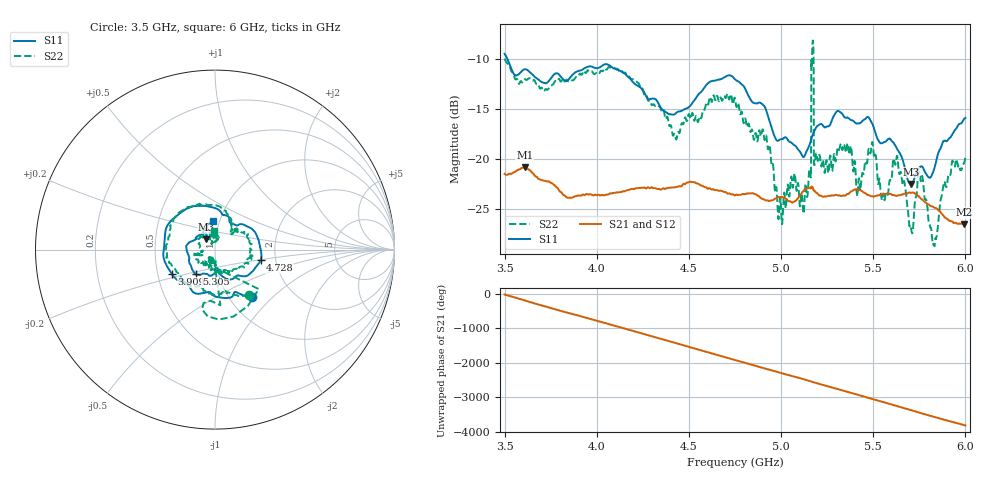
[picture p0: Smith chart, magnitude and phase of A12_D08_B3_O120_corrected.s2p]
! Created with skrf 1.9.0 (http://scikit-rf.org).
# Hz S RI R 50.0
!freq ReS11 ImS11 ReS21 ImS21 ReS12 ImS12 ReS22 ImS22
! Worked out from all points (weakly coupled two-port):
!   1601 points, 3.5 GHz to 6 GHz, reference 50 ohm
!   highest |S21| = -20.86 dB at 3.609 GHz (marker M1); lowest = -26.5 dB at 5.994 GHz (marker M2)
!   lowest |S11| = -22.5 dB at 5.705 GHz (marker M3), VSWR 1.16, Z = 45 + j5.11 ohm
!   |S11| at or under -10 dB: 3.515 GHz to end of sweep
!   |S22| runs from -28.7 to -8.2 dB; largest |S21 - S12| = 0.0011
!   S11 on the Smith chart (normalised r, x): 3.5 GHz: 1.27, -0.76; 3.909 GHz: 0.59, -0.17; 4.728 GHz: 1.66, -0.21; 5.305 GHz: 0.78, -0.22; 6 GHz: 0.93, +0.31
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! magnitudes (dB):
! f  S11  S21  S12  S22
! 3.5 GHz  -9.5  -21.5  -21.5  -10.0
! 3.609 GHz  -11.0  -20.9  -20.9  -12.0
! 3.909 GHz  -11.2  -23.7  -23.7  -11.5
! 3.917 GHz  -11.1  -23.7  -23.7  -11.6
! 4.334 GHz  -14.5  -23.0  -23.0  -14.7
! 4.425 GHz  -15.5  -22.8  -22.8  -17.7
! 4.728 GHz  -11.7  -23.6  -23.5  -13.6
! 4.75 GHz  -12.0  -23.7  -23.6  -14.0
! 4.911 GHz  -14.8  -24.1  -24.1  -18.1
! 4.995 GHz  -18.1  -23.8  -23.8  -23.9
! 5.131 GHz  -19.6  -23.0  -23.0  -22.7
! 5.15 GHz  -18.8  -22.9  -22.9  -21.7
! 5.167 GHz  -17.8  -22.8  -22.8  -10.3
! 5.191 GHz  -16.9  -23.4  -23.4  -19.5
! 5.305 GHz  -15.2  -23.6  -23.6  -19.1
! 5.584 GHz  -18.0  -23.5  -23.5  -22.8
! 5.623 GHz  -18.8  -23.7  -23.7  -20.3
! 5.705 GHz  -22.5  -23.4  -23.4  -26.9
! 5.756 GHz  -20.8  -23.9  -23.9  -22.1
! 5.833 GHz  -20.9  -24.9  -24.8  -28.7
! 5.994 GHz  -16.0  -26.5  -26.5  -20.4
! 6 GHz  -15.9  -26.5  -26.5  -19.8
